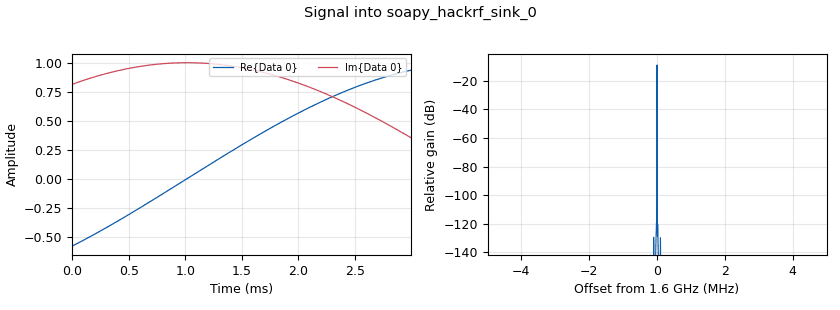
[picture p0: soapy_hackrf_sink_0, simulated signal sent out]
options:
  parameters:
    author: yango
    generate_options: qt_gui
    id: txHackRF
    output_language: python
    title: cosine wave hackrf
  states: {}

blocks:
- name: frequency
  id: variable_qtgui_range
  parameters:
    start: '30000000'
    step: '100000'
    stop: '200000000'
    value: '50000000'
  states: {state: disabled}
- name: frequency
  id: variable
  parameters:
    value: '1600000000'
  states: {}
- name: samp_rate
  id: variable
  parameters:
    value: '10000000'
  states: {}
- name: analog_sig_source_x_0
  id: analog_sig_source_x
  parameters:
    amp: '1'
    freq: frequency
    offset: '0'
    phase: '0'
    samp_rate: samp_rate
    type: complex
    waveform: analog.GR_COS_WAVE
  states: {}
- name: soapy_hackrf_sink_0
  id: soapy_hackrf_sink
  parameters:
    center_freq: frequency
    samp_rate: samp_rate
    type: fc32
  states: {}

connections:
- [analog_sig_source_x_0, '0', soapy_hackrf_sink_0, '0']

metadata:
  file_format: 1
  grc_version: 3.10.7.0
